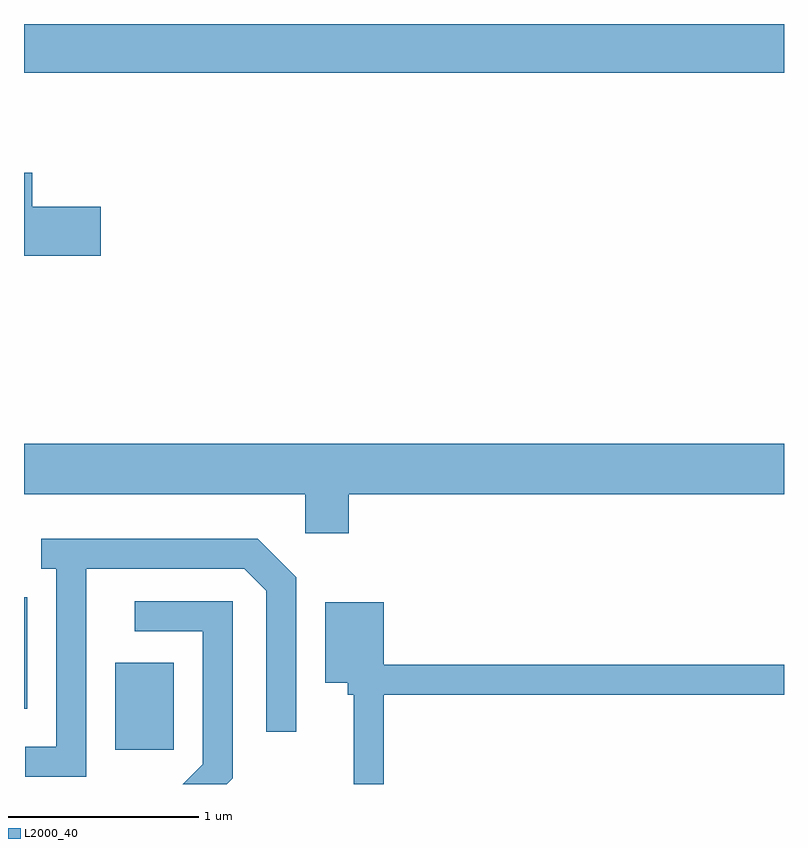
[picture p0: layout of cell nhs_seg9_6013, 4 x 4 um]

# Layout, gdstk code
import gdstk
lib = gdstk.Library(unit=1e-6, precision=1e-09)
def R(c, l, rs):  # rectangles x0, y0, x1, y1
    for r in rs: c.add(gdstk.rectangle(r[:2], r[2:], *l))
def P(c, l, *ps):  # polygons
    for p in ps: c.add(gdstk.Polygon(p, *l))
L2000_40 = (2000, 40)

nhs_seg9_6013 = lib.new_cell('nhs_seg9_6013')
R(nhs_seg9_6013, L2000_40, [(362.091,2072.611,362.399,2073.069), (361.611,2072.827,361.629,2073.414), (361.611,2076.176,365.611,2076.432)])
P(nhs_seg9_6013, L2000_40, [(362.014,2075.469),(361.654,2075.469),(361.654,2075.649),(361.611,2075.649),(361.611,2075.211),(362.014,2075.211)],
  [(363.319,2073.956),(365.611,2073.956),(365.611,2074.224),(361.611,2074.224),(361.611,2073.956),(363.091,2073.956),(363.091,2073.751),(363.319,2073.751)],
  [(361.939,2073.566),(362.769,2073.566),(362.886,2073.449),(362.886,2072.708),(363.044,2072.708),(363.044,2073.521),(362.842,2073.724),(361.703,2073.724),(361.703,2073.566),(361.781,2073.566),(361.781,2072.629),(361.618,2072.629),(361.618,2072.471),(361.939,2072.471)],
  [(362.709,2072.463),(362.709,2073.394),(362.193,2073.394),(362.193,2073.236),(362.551,2073.236),(362.551,2072.537),(362.446,2072.432),(362.678,2072.432)],
  [(363.504,2072.901),(365.611,2072.901),(365.611,2073.059),(363.504,2073.059),(363.504,2073.389),(363.196,2073.389),(363.196,2072.966),(363.316,2072.966),(363.316,2072.901),(363.346,2072.901),(363.346,2072.432),(363.504,2072.432)])

lib.write_gds('nhs_seg9_6013.gds')
